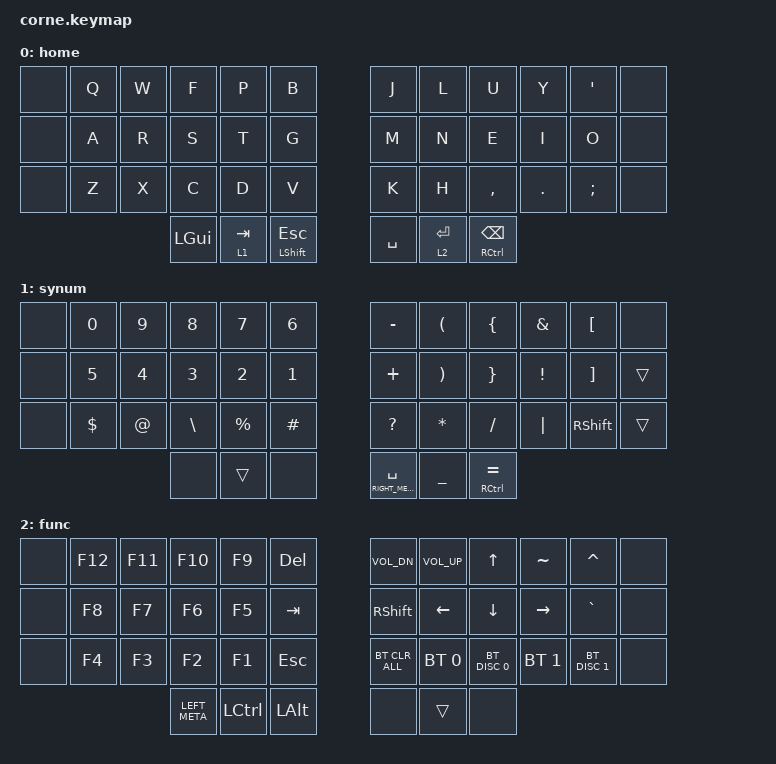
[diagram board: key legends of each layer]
/*
 * Copyright (c) 2020 The ZMK Contributors
 *
 * SPDX-License-Identifier: MIT
 */

#include <behaviors.dtsi>
#include <dt-bindings/zmk/bt.h>
#include <dt-bindings/zmk/keys.h>

/ {
    macros {
        macro1: macro1 {
            compatible = "zmk,behavior-macro";
            #binding-cells = <0>;
            bindings = <&none>;
            label = "MACRO1";
        };

        macro2: macro2 {
            compatible = "zmk,behavior-macro";
            #binding-cells = <0>;
            bindings = <&none>;
            label = "MACRO2";
        };

        macro3: macro3 {
            compatible = "zmk,behavior-macro";
            #binding-cells = <0>;
            bindings = <&none>;
            label = "MACRO3";
        };

        macro4: macro4 {
            compatible = "zmk,behavior-macro";
            #binding-cells = <0>;
            bindings = <&none>;
            label = "MACRO4";
        };

        macro5: macro5 {
            compatible = "zmk,behavior-macro";
            #binding-cells = <0>;
            bindings = <&none>;
            label = "MACRO5";
        };
    };

    keymap {
        compatible = "zmk,keymap";

        home {
            // -----------------------------------------------------------------------------------------
            // |  TAB |  Q  |  W  |  E  |  R  |  T  |   |  Y  |  U   |  I  |  O  |  P  | BSPC |
            // | CTRL |  A  |  S  |  D  |  F  |  G  |   |  H  |  J   |  K  |  L  |  ;  |  '   |
            // | SHFT |  Z  |  X  |  C  |  V  |  B  |   |  N  |  M   |  ,  |  .  |  /  | ESC  |
            //                    | GUI | LWR | SPC |   | ENT | RSE  | ALT |

            bindings = <
&none  &kp Q  &kp W  &kp F     &kp P      &kp B                    &kp J      &kp L        &kp U                &kp Y    &kp APOS  &none
&none  &kp A  &kp R  &kp S     &kp T      &kp G                    &kp M      &kp N        &kp E                &kp I    &kp O     &none
&none  &kp Z  &kp X  &kp C     &kp D      &kp V                    &kp K      &kp H        &kp COMMA            &kp DOT  &kp SEMI  &none
                     &kp LGUI  &lt 1 TAB  &mt LEFT_SHIFT ESCAPE    &kp SPACE  &lt 2 ENTER  &mt RCTRL BACKSPACE
            >;
        };

        synum {
            // -----------------------------------------------------------------------------------------
            // |  TAB |  1  |  2  |  3  |  4  |  5  |   |  6  |  7  |  8  |  9  |  0  | BSPC |
            // | BTCLR| BT1 | BT2 | BT3 | BT4 | BT5 |   | LFT | DWN |  UP | RGT |     |      |
            // | SHFT |     |     |     |     |     |   |     |     |     |     |     |      |
            //                    | GUI |     | SPC |   | ENT |     | ALT |

            bindings = <
&none  &kp N0      &kp N9        &kp N8         &kp N7        &kp NUMBER_6    &kp MINUS             &kp LEFT_PARENTHESIS   &kp LEFT_BRACE   &kp AMPERSAND    &kp LEFT_BRACKET   &none
&none  &kp N5      &kp NUMBER_4  &kp NUMBER_3   &kp NUMBER_2  &kp NUMBER_1    &kp PLUS              &kp RIGHT_PARENTHESIS  &kp RIGHT_BRACE  &kp EXCLAMATION  &kp RIGHT_BRACKET  &trans
&none  &kp DOLLAR  &kp AT_SIGN   &kp BACKSLASH  &kp PERCENT   &kp HASH        &kp QUESTION          &kp ASTERISK           &kp SLASH        &kp PIPE         &kp RSHFT          &trans
                                 &none          &trans        &none           &mt RIGHT_META SPACE  &kp UNDERSCORE         &mt RCTRL EQUAL
            >;
        };

        func {
            // -----------------------------------------------------------------------------------------
            // |  TAB |  !  |  @  |  #  |  $  |  %  |   |  ^  |  &  |  *  |  (  |  )  | BSPC |
            // | CTRL |     |     |     |     |     |   |  -  |  =  |  [  |  ]  |  \  |  `   |
            // | SHFT |     |     |     |     |     |   |  _  |  +  |  {  |  }  | "|" |  ~   |
            //                    | GUI |     | SPC |   | ENT |     | ALT |

            bindings = <
&none  &kp F12  &kp F11  &kp F10        &kp F9     &kp DELETE    &kp C_VOL_DN     &kp C_VOLUME_UP  &kp UP_ARROW    &kp TILDE        &kp CARET      &none
&none  &kp F8   &kp F7   &kp F6         &kp F5     &kp TAB       &kp RIGHT_SHIFT  &kp LEFT_ARROW   &kp DOWN_ARROW  &kp RIGHT_ARROW  &kp GRAVE      &none
&none  &kp F4   &kp F3   &kp F2         &kp F1     &kp ESCAPE    &bt BT_CLR_ALL   &bt BT_SEL 0     &bt BT_DISC 0   &bt BT_SEL 1     &bt BT_DISC 1  &none
                         &kp LEFT_META  &kp LCTRL  &kp LALT      &none            &trans           &none
            >;
        };
    };
};
